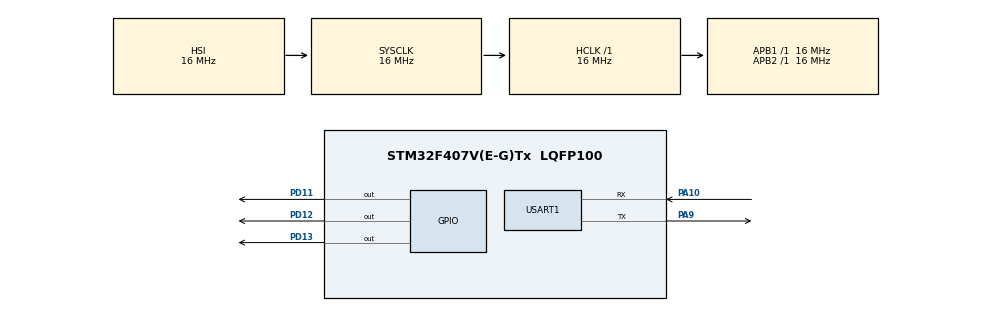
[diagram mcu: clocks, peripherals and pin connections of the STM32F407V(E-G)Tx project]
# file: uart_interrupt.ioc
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Mcu.Family=STM32F4
Mcu.Name=STM32F407V(E-G)Tx
Mcu.Package=LQFP100
NVIC.PriorityGroup=NVIC_PRIORITYGROUP_4
NVIC.USART1_IRQn=true\:0\:0\:false\:false\:true\:true\:true\:true
PA10.Mode=Asynchronous
PA10.Signal=USART1_RX
PA9.Mode=Asynchronous
PA9.Signal=USART1_TX
PD11.Signal=GPIO_Output
PD12.Signal=GPIO_Output
PD13.Signal=GPIO_Output
ProjectManager.HeapSize=0x200
ProjectManager.StackSize=0x400
ProjectManager.TargetToolchain=EWARM V8.50
RCC.AHBFreq_Value=16000000
RCC.APB1Freq_Value=16000000
RCC.APB2Freq_Value=16000000
RCC.CortexFreq_Value=16000000
RCC.HSE_VALUE=25000000
RCC.HSI_VALUE=16000000
RCC.LSE_VALUE=32768
RCC.SYSCLKFreq_VALUE=16000000
RCC.VCOOutputFreq_Value=192000000
USART1.VirtualMode=VM_ASYNC
board=custom

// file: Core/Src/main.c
/* USER CODE BEGIN Header */
/**
  ******************************************************************************
  * @file           : main.c
  * @brief          : Main program body
  ******************************************************************************
  * @attention
  *
  * Copyright (c) 2022 STMicroelectronics.
  * All rights reserved.
  *
  * This software is licensed under terms that can be found in the LICENSE file
  * in the root directory of this software component.
  * If no LICENSE file comes with this software, it is provided AS-IS.
  *
  ******************************************************************************
  */
/* USER CODE END Header */
#include "main.h"

/* USER CODE BEGIN Includes */
#include <string.h>
#include <stdlib.h>
#include <stdio.h>

/* USER CODE END Includes */

UART_HandleTypeDef huart1;

/* USER CODE BEGIN PV */
char buffer[44];
uint8_t Tempbuffer[10];
uint8_t rxindeks=0;
char data[20];
int sure=0;
int on;
int off;
int stop;
/* USER CODE END PV */

void SystemClock_Config(void);
static void MX_GPIO_Init(void);
static void MX_USART1_UART_Init(void);
void LED_DURUM(int sure);

int main(void)
{

  /* MCU Configuration--------------------------------------------------------*/

  /* Reset of all peripherals, Initializes the Flash interface and the Systick. */
  HAL_Init();

  /* Configure the system clock */
  SystemClock_Config();

  /* Initialize all configured peripherals */
  MX_GPIO_Init();
  MX_USART1_UART_Init();

  /* USER CODE BEGIN 2 */
  HAL_UART_Receive_IT(&huart1,(uint8_t*)Tempbuffer,1);

  /* USER CODE END 2 */

  /* Infinite loop */
  while (1)
  {

    /* USER CODE BEGIN 3 */
    LED_DURUM(sure);

    if((on!=0|| off!=0) &&  (data[0]!='s'&& data[1]!='t'&& data[2]!='o'&& data[3]!='p')){
     HAL_GPIO_WritePin(GPIOD,GPIO_PIN_12,1);
     HAL_Delay(on);
     HAL_GPIO_WritePin(GPIOD,GPIO_PIN_12,0);
     HAL_Delay(off);
    }

    else if((on!=0|| off!=0) && (data[0]=='s'&& data[1]=='t'&& data[2]=='a'
           && data[3]=='r'&& data[4]=='t')){

     HAL_GPIO_WritePin(GPIOD,GPIO_PIN_12,1);
     HAL_Delay(on);
     HAL_GPIO_WritePin(GPIOD,GPIO_PIN_12,0);
     HAL_Delay(off);
    }
    else{

    }
  /* USER CODE END 3 */

}
}

void SystemClock_Config(void)
{
  RCC_OscInitTypeDef RCC_OscInitStruct = {0};
  RCC_ClkInitTypeDef RCC_ClkInitStruct = {0};

  /** Configure the main internal regulator output voltage
  */
  __HAL_RCC_PWR_CLK_ENABLE();
  __HAL_PWR_VOLTAGESCALING_CONFIG(PWR_REGULATOR_VOLTAGE_SCALE1);

  /** Initializes the RCC Oscillators according to the specified parameters
  * in the RCC_OscInitTypeDef structure.
  */
  RCC_OscInitStruct.OscillatorType = RCC_OSCILLATORTYPE_HSI;
  RCC_OscInitStruct.HSIState = RCC_HSI_ON;
  RCC_OscInitStruct.HSICalibrationValue = RCC_HSICALIBRATION_DEFAULT;
  RCC_OscInitStruct.PLL.PLLState = RCC_PLL_NONE;
  if (HAL_RCC_OscConfig(&RCC_OscInitStruct) != HAL_OK)
  {
    Error_Handler();
  }

  /** Initializes the CPU, AHB and APB buses clocks
  */
  RCC_ClkInitStruct.ClockType = RCC_CLOCKTYPE_HCLK|RCC_CLOCKTYPE_SYSCLK
                              |RCC_CLOCKTYPE_PCLK1|RCC_CLOCKTYPE_PCLK2;
  RCC_ClkInitStruct.SYSCLKSource = RCC_SYSCLKSOURCE_HSI;
  RCC_ClkInitStruct.AHBCLKDivider = RCC_SYSCLK_DIV1;
  RCC_ClkInitStruct.APB1CLKDivider = RCC_HCLK_DIV1;
  RCC_ClkInitStruct.APB2CLKDivider = RCC_HCLK_DIV1;

  if (HAL_RCC_ClockConfig(&RCC_ClkInitStruct, FLASH_LATENCY_0) != HAL_OK)
  {
    Error_Handler();
  }
}

//  MEESAJLAR TERMITE UYGULMASI UZERINDEN GONDERILMELIDIR !!!!!

void HAL_UART_RxCpltCallback(UART_HandleTypeDef *huart){

  if(huart==&huart1){

    buffer[rxindeks]= Tempbuffer[0];
    rxindeks++;
    HAL_UART_Receive_IT(&huart1,(uint8_t*)Tempbuffer,1);
    for(uint8_t a=0; a<=rxindeks; a++){
      if ((buffer[a]=='\r'&& buffer[a]=='\n')||(buffer[a]=='\r' )){
        strcpy(data,buffer);

        for(int i=0;i<=a;i++){
          buffer[i]='\0';
          Tempbuffer[0]='\0';
          rxindeks=0;
        }
     }
    }
  }
}

void LED_DURUM(int sure){
  char TempSureOff[20];
  char TempSureOn[20];
  char OffBuffer[20];
  char OnBuffer[20];
  int c=6;
  int d=0;
  int onindeks=0;
  int offindeks=0;
  int offin=7;
  int stopindeks=0;

  if(data[0]=='l'&& data[1]=='e'&& data[2]=='d'&& data[3]=='o'&& data[4]=='n'
     && data[5]=='='){

       while(data[c]!='\r'){

         TempSureOn[onindeks] =data[c];
         c++;
         onindeks++;
         if(data[c]=='\r'){
              strcpy(OnBuffer,TempSureOn);
                TempSureOn[onindeks]='\0';
                  onindeks=0;
            }

         on= atoi(OnBuffer);
     }
     }

 if(data[0]=='l'&& data[1]=='e'&& data[2]=='d'&& data[3]=='o'&& data[4]=='f'
    && data[5]=='f' && data[6]=='='){

       while(data[offin]!='\r'){

         TempSureOff[offindeks] =data[offin];
         offin++;
         offindeks++;
            }
        if(data[offin]=='\r'){
              strcpy(OffBuffer,TempSureOff);
                TempSureOff[offindeks]='\0';
                  offindeks=0;
            }

         off= atoi(OffBuffer);
     }

     if(data[0]=='s'&& data[1]=='t'&& data[2]=='o'&& data[3]=='p'){

    HAL_GPIO_WritePin(GPIOD,GPIO_PIN_12,1);
    HAL_Delay(1000);
    HAL_GPIO_WritePin(GPIOD,GPIO_PIN_12,0);
    HAL_Delay(1000);

     }
}

static void MX_USART1_UART_Init(void)
{

  huart1.Instance = USART1;
  huart1.Init.BaudRate = 115200;
  huart1.Init.WordLength = UART_WORDLENGTH_8B;
  huart1.Init.StopBits = UART_STOPBITS_1;
  huart1.Init.Parity = UART_PARITY_NONE;
  huart1.Init.Mode = UART_MODE_TX_RX;
  huart1.Init.HwFlowCtl = UART_HWCONTROL_NONE;
  huart1.Init.OverSampling = UART_OVERSAMPLING_16;
  if (HAL_UART_Init(&huart1) != HAL_OK)
  {
    Error_Handler();
  }

}

static void MX_GPIO_Init(void)
{
  GPIO_InitTypeDef GPIO_InitStruct = {0};

  /* GPIO Ports Clock Enable */
  __HAL_RCC_GPIOD_CLK_ENABLE();
  __HAL_RCC_GPIOA_CLK_ENABLE();

  /*Configure GPIO pin Output Level */
  HAL_GPIO_WritePin(GPIOD, GPIO_PIN_11|GPIO_PIN_12|GPIO_PIN_13, GPIO_PIN_RESET);

  /*Configure GPIO pins : PD11 PD12 PD13 */
  GPIO_InitStruct.Pin = GPIO_PIN_11|GPIO_PIN_12|GPIO_PIN_13;
  GPIO_InitStruct.Mode = GPIO_MODE_OUTPUT_PP;
  GPIO_InitStruct.Pull = GPIO_NOPULL;
  GPIO_InitStruct.Speed = GPIO_SPEED_FREQ_LOW;
  HAL_GPIO_Init(GPIOD, &GPIO_InitStruct);

}

void Error_Handler(void)
{
  __disable_irq();
  while (1)
  {
  }
}
